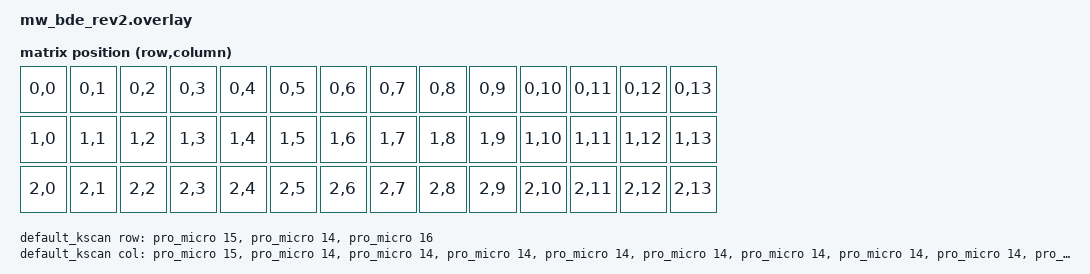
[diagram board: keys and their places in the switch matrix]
/ {
    chosen {
        zmk,kscan = &default_kscan;
        zmk,matrix_transform = &default_transform;
    };

    default_kscan: kscan {
        compatible = "zmk,kscan-gpio-matrix";
        label = "default_kscan";
        diode-direction = "col2row";
        
        row-gpios = <&pro_micro 15 (GPIO_ACTIVE_HIGH | GPIO_PULL_DOWN)>,
                    <&pro_micro 14 (GPIO_ACTIVE_HIGH | GPIO_PULL_DOWN)>,
                    <&pro_micro 16 (GPIO_ACTIVE_HIGH | GPIO_PULL_DOWN)>;
    
        col-gpios = <&pro_micro 15 (GPIO_ACTIVE_HIGH | GPIO_PULL_DOWN)>,
                    <&pro_micro 14 (GPIO_ACTIVE_HIGH | GPIO_PULL_DOWN)>,
                    <&pro_micro 14 (GPIO_ACTIVE_HIGH | GPIO_PULL_DOWN)>,
                    <&pro_micro 14 (GPIO_ACTIVE_HIGH | GPIO_PULL_DOWN)>,
                    <&pro_micro 14 (GPIO_ACTIVE_HIGH | GPIO_PULL_DOWN)>,
                    <&pro_micro 14 (GPIO_ACTIVE_HIGH | GPIO_PULL_DOWN)>,
                    <&pro_micro 14 (GPIO_ACTIVE_HIGH | GPIO_PULL_DOWN)>,
                    <&pro_micro 14 (GPIO_ACTIVE_HIGH | GPIO_PULL_DOWN)>,
                    <&pro_micro 14 (GPIO_ACTIVE_HIGH | GPIO_PULL_DOWN)>,
                    <&pro_micro 14 (GPIO_ACTIVE_HIGH | GPIO_PULL_DOWN)>,
                    <&pro_micro 14 (GPIO_ACTIVE_HIGH | GPIO_PULL_DOWN)>,
                    <&pro_micro 14 (GPIO_ACTIVE_HIGH | GPIO_PULL_DOWN)>,
                    <&pro_micro 14 (GPIO_ACTIVE_HIGH | GPIO_PULL_DOWN)>,
                    <&pro_micro 14 (GPIO_ACTIVE_HIGH | GPIO_PULL_DOWN)>;
    };
    
    default_transform: matrix_transform {
        compatible = "zmk,matrix-transform";
        rows = <3>;
        columns = <14>;
        
        map = <
            RC(0,0) RC(0,1) RC(0,2) RC(0,3) RC(0,4) RC(0,5) RC(0,6) RC(0,7) RC(0,8) RC(0,9) RC(0,10) RC(0,11) RC(0,12) RC(0,13)
            RC(1,0) RC(1,1) RC(1,2) RC(1,3) RC(1,4) RC(1,5) RC(1,6) RC(1,7) RC(1,8) RC(1,9) RC(1,10) RC(1,11) RC(1,12) RC(1,13)
            RC(2,0) RC(2,1) RC(2,2) RC(2,3) RC(2,4) RC(2,5) RC(2,6) RC(2,7) RC(2,8) RC(2,9) RC(2,10) RC(2,11) RC(2,12) RC(2,13) 
        >;
    };
};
